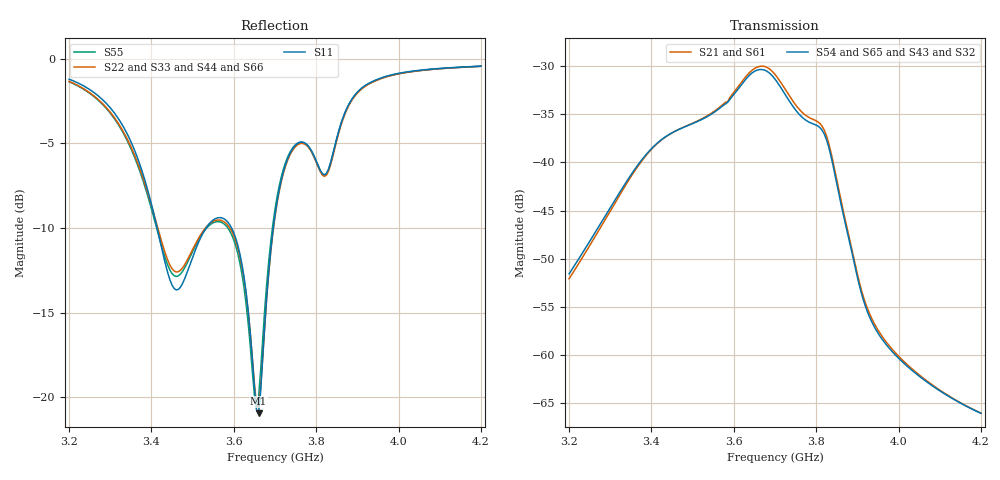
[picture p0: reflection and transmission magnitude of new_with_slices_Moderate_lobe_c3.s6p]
! Touchstone file exported from HFSS 2024.2.0
!  File:  D:/Jatin/new_with_slices.aedt
!  Generated:  09:19:22 AM Oct  4, 2026
!  Design:  Moderate_lobe
!  Project:  new_with_slices
!  Setup:  Setup1
!  Solution:  Sweep
! Variables:
!  $L = 85mm
!  $W = 35mm
!  H = 1.575mm
!  L = 42mm
!  W = 35mm
!  Wb = 6mm
!  a = 3.5mm
!  ant_dist = 115mm
!  ant_gap = 3mm
!  b = 5mm
!  c = 5mm
!  d = 2mm
!  e_S1 = 11.5mm
!  e_S2 = 12.5mm
!  e_S3 = 15.5mm
!  e_S4 = 0mm
!  e_S5 = 15.5mm
!  e_S6 = 12.5mm
!  g1 = 2mm
!  g2 = 2mm
!  g3 = 1mm
!  g4 = 2mm
!  gap = 10mm
!  r1 = 3.5mm
!  r2 = 6mm
!  r_brain = 95mm
!  r_brain_ad = 61.68mm
!  r_csf = 95.5mm
!  r_csf_expanded = 64.6mm
!  r_csf_inner = 61.68mm
!  r_csf_outer = 83.5mm
!  r_fat = 87.5mm
!  r_gray = 70.55mm
!  r_gray_healthy = 83mm
!  r_grey_healthy = 83mm
!  r_hip = 12.5mm
!  r_hippo_healthy = 25mm
!  r_skin = 88mm
!  r_skull = 86.5mm
!  r_white = 17.5mm
!  r_white_healthy = 76mm
!  slot_distance = 15mm
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# GHz S MA R 50.000000
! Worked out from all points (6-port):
!   201 points, 3.2 GHz to 4.2 GHz, reference 50 ohm
!   strongest paths, dB at 3.2 GHz, 3.45 GHz, 3.7 GHz, 3.95 GHz, 4.2 GHz:
!     S54: -51.6, -36.9, -31.3, -57.7, -66.1
!     S65: -51.5, -37.1, -31.0, -57.8, -66.2
!     S43: -51.6, -37.0, -31.1, -57.7, -66.0
!     S32: -51.6, -37.1, -31.2, -57.8, -66.3
!     S21: -52.1, -36.9, -30.9, -57.4, -66.0
!     S61: -52.1, -36.9, -31.0, -57.4, -66.0
!   lowest |S11| = -21.0 dB at 3.66 GHz (marker M1), VSWR 1.20, Z = 44.5 - j6.48 ohm
!   |S11| at or under -10 dB: 3.414 GHz to 3.533 GHz (119.2 MHz wide, 3.43 % of centre); 3.594 GHz to 3.696 GHz (101.5 MHz wide, 2.78 % of centre)
